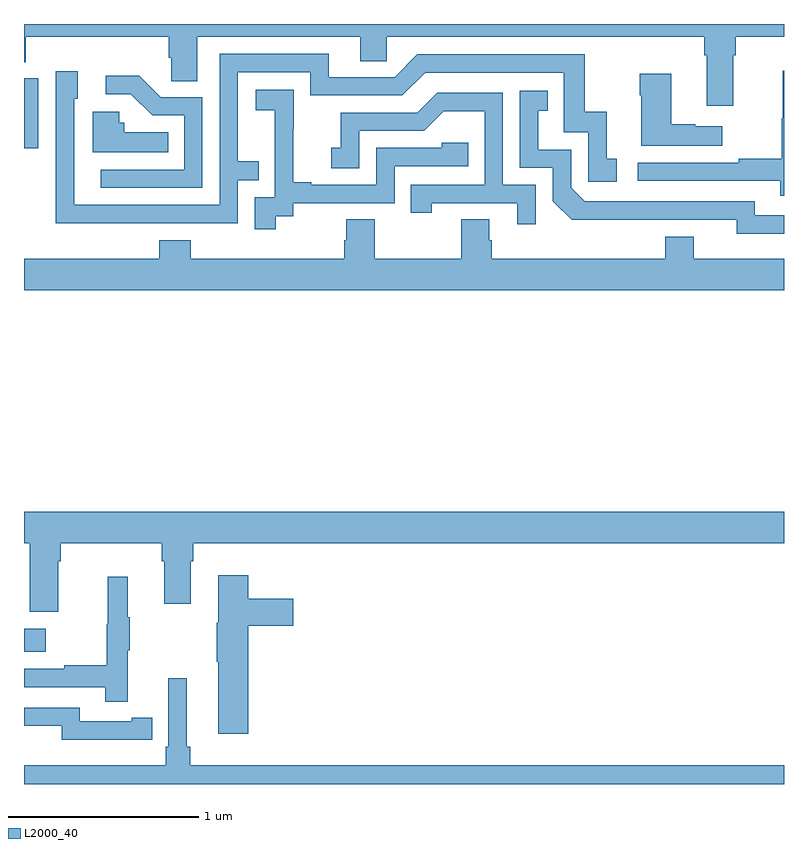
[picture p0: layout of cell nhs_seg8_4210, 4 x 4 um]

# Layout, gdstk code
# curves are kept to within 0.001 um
import gdstk
lib = gdstk.Library(unit=1e-6, precision=1e-09)
def R(c, l, rs):  # rectangles x0, y0, x1, y1
    for r in rs: c.add(gdstk.rectangle(r[:2], r[2:], *l))
def P(c, l, *ps):  # polygons
    for p in ps: c.add(gdstk.Polygon(p, *l))
L2000_40 = (2000, 40)

nhs_seg8_4210 = lib.new_cell('nhs_seg8_4210')
R(nhs_seg8_4210, L2000_40, [(369,1114.595,369.115,1114.717), (369,1117.245,369.075,1117.614)])
P(nhs_seg8_4210, L2000_40, [(372.733,1117.736),(372.746,1117.736),(372.746,1117.832),(373,1117.832),(373,1117.9),(369,1117.9),(369,1117.699),(369.008,1117.699),(369.008,1117.832),(369.761,1117.832),(369.761,1117.723),(369.774,1117.723),(369.774,1117.6),(369.913,1117.6),(369.913,1117.832),(370.769,1117.832),(370.769,1117.705),(370.908,1117.705),(370.908,1117.832),(372.581,1117.832),(372.581,1117.736),(372.593,1117.736),(372.593,1117.47),(372.733,1117.47)],
  [(369.629,1116.852),(370.125,1116.852),(370.125,1117.077),(370.235,1117.077),(370.235,1117.178),(370.125,1117.178),(370.125,1117.647),(370.506,1117.647),(370.506,1117.524),(370.992,1117.524),(371.112,1117.644),(371.841,1117.644),(371.841,1117.329),(371.97,1117.329),(371.97,1117.071),(372.121,1117.071),(372.121,1117.191),(372.068,1117.191),(372.068,1117.438),(371.95,1117.438),(371.95,1117.74),(371.07,1117.74),(370.95,1117.62),(370.603,1117.62),(370.603,1117.743),(370.029,1117.743),(370.029,1116.948),(369.265,1116.948),(369.264,1117.506),(369.283,1117.506),(369.283,1117.651),(369.168,1117.651),(369.168,1117.157),(369.166,1117.157),(369.166,1116.851)],
  [(373,1117.654),(372.994,1117.654),(372.994,1117.404),(372.987,1117.404),(372.987,1117.19),(372.763,1117.19),(372.763,1117.17),(372.231,1117.17),(372.231,1117.074),(372.979,1117.074),(372.979,1116.996),(373,1116.996)],
  [(372.676,1117.363),(372.533,1117.363),(372.533,1117.373),(372.406,1117.373),(372.406,1117.639),(372.241,1117.639),(372.241,1117.526),(372.248,1117.526),(372.248,1117.259),(372.676,1117.259)],
  [(369.939,1117.515),(369.72,1117.515),(369.607,1117.628),(369.429,1117.628),(369.429,1117.53),(369.563,1117.53),(369.674,1117.419),(369.843,1117.419),(369.843,1117.134),(369.405,1117.134),(369.405,1117.038),(369.939,1117.038)],
  [(370.324,1116.889),(370.416,1116.889),(370.416,1116.957),(370.95,1116.957),(370.95,1117.152),(371.339,1117.152),(371.339,1117.275),(371.199,1117.275),(371.199,1117.248),(370.854,1117.248),(370.854,1117.053),(370.513,1117.053),(370.513,1117.066),(370.418,1117.066),(370.418,1117.349),(370.419,1117.349),(370.419,1117.555),(370.221,1117.555),(370.221,1117.445),(370.319,1117.445),(370.319,1117.217),(370.32,1117.217),(370.32,1116.987),(370.215,1116.987),(370.215,1116.819),(370.324,1116.819)],
  [(373,1116.894),(372.846,1116.894),(372.846,1116.966),(371.952,1116.966),(371.88,1117.038),(371.88,1117.239),(371.707,1117.239),(371.707,1117.443),(371.756,1117.443),(371.756,1117.549),(371.61,1117.549),(371.61,1117.143),(371.784,1117.143),(371.784,1116.966),(371.882,1116.869),(372.75,1116.87),(372.75,1116.797),(373,1116.797)],
  [(371.694,1117.053),(371.52,1117.053),(371.52,1117.539),(371.174,1117.539),(371.069,1117.434),(370.666,1117.434),(370.666,1117.249),(370.617,1117.249),(370.617,1117.14),(370.764,1117.14),(370.764,1117.338),(371.106,1117.338),(371.21,1117.442),(371.424,1117.442),(371.424,1117.053),(371.035,1117.053),(371.035,1116.906),(371.146,1116.906),(371.146,1116.957),(371.597,1116.957),(371.597,1116.846),(371.694,1116.846)],
  [(369.758,1117.33),(369.528,1117.33),(369.528,1117.38),(369.501,1117.38),(369.501,1117.438),(369.362,1117.438),(369.362,1117.226),(369.758,1117.226)],
  [(373,1116.664),(372.526,1116.664),(372.526,1116.781),(372.374,1116.781),(372.374,1116.664),(371.462,1116.664),(371.462,1116.762),(371.449,1116.762),(371.449,1116.872),(371.302,1116.872),(371.302,1116.664),(370.845,1116.664),(370.845,1116.872),(370.697,1116.872),(370.697,1116.762),(370.685,1116.762),(370.685,1116.664),(369.878,1116.664),(369.878,1116.763),(369.713,1116.763),(369.713,1116.664),(369,1116.664),(369,1116.5),(373,1116.5)],
  [(369.181,1115.072),(369.194,1115.072),(369.194,1115.168),(369.725,1115.168),(369.725,1115.072),(369.737,1115.072),(369.737,1114.848),(369.877,1114.848),(369.877,1115.072),(369.89,1115.072),(369.89,1115.168),(373,1115.168),(373,1115.332),(369,1115.332),(369,1115.168),(369.029,1115.168),(369.029,1114.806),(369.181,1114.806)],
  [(370.181,1114.733),(370.417,1114.733),(370.417,1114.875),(370.181,1114.875),(370.181,1114.999),(370.022,1114.999),(370.022,1114.749),(370.015,1114.749),(370.015,1114.543),(370.022,1114.543),(370.022,1114.164),(370.181,1114.164)],
  [(369.545,1114.603),(369.556,1114.603),(369.556,1114.777),(369.545,1114.777),(369.545,1114.99),(369.442,1114.99),(369.442,1114.74),(369.435,1114.74),(369.435,1114.526),(369.211,1114.526),(369.211,1114.506),(369,1114.506),(369,1114.41),(369.427,1114.41),(369.427,1114.332),(369.545,1114.332)],
  [(369.566,1114.134),(369.674,1114.134),(369.674,1114.25),(369.566,1114.25),(369.566,1114.23),(369.294,1114.23),(369.294,1114.302),(369,1114.302),(369,1114.206),(369.198,1114.206),(369.198,1114.133),(369.566,1114.133)],
  [(369.875,1114.096),(369.856,1114.096),(369.856,1114.456),(369.759,1114.456),(369.759,1114.096),(369.746,1114.096),(369.746,1114),(369,1114),(369,1113.9),(373,1113.9),(373,1114),(369.875,1114)])

lib.write_gds('nhs_seg8_4210.gds')
